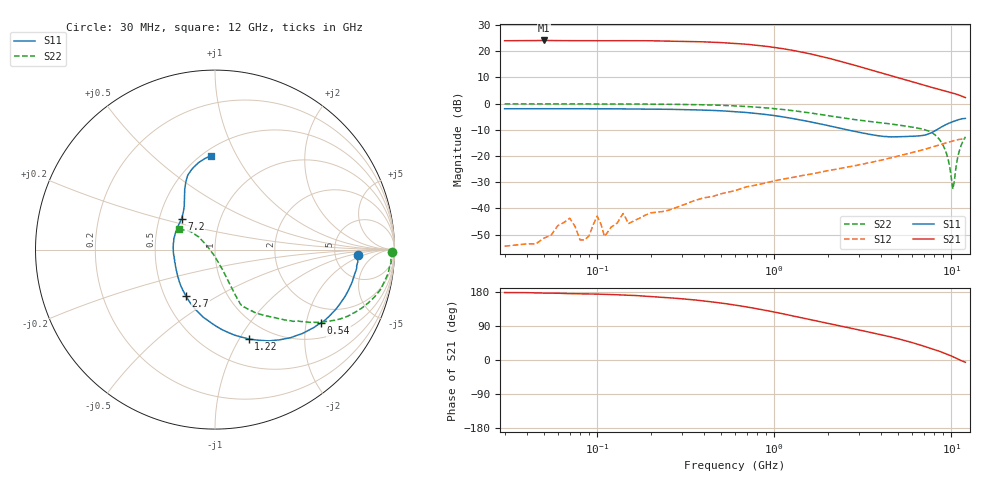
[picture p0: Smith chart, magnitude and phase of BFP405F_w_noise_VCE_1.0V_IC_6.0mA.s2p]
! Infineon Technologies  Discrete & RF Semiconductors
! BFP405F
! VCE =  1.0 V,  IC =  6.0 mA
! Common Emitter S-Parameters:  Nov 2015
# GHz  S  MA  R  50
!  f  S11  S21  S12  S22
! GHz  MAG  ANG  MAG  ANG  MAG  ANG  MAG  ANG
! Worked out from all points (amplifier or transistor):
!   239 points, 30 MHz to 12 GHz, reference 50 ohm
!   highest |S21| = 24.1 dB at 50 MHz (marker M1)
!   |S21| within 3 dB of that: start of sweep to 1.083 GHz
!   unconditionally stable (mu >= 1): 2.623 GHz to end of sweep
!   at 300 MHz: K = 0.13, MSG = 31.4 dB, |S12| = -38.9 dB
!   at 1.88 GHz: K = 0.77, MSG = 21.9 dB, |S12| = -26.0 dB
!   at 12 GHz: K = 1.44, MAG = 3.9 dB, |S12| = -13.3 dB
!   lowest NFmin = 1.38 dB at 450 MHz
!   S11 on the Smith chart (normalised r, x): 30 MHz: 8.61, -1.38; 540 MHz: 1.45, -2.43; 1.22 GHz: 0.79, -1.09; 2.7 GHz: 0.64, -0.37; 7.2 GHz: 0.65, +0.24; 12 GHz: 0.56, +0.79
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0.03  0.7967 -2.1  15.8 178.0  0.0019 52.1  0.9838 -0.8
0.05  0.7923 -3.8  16.01 176.6  0.0027 -5.6  0.9827 -1.8
0.07  0.7994 -4.9  15.89 175.1  0.0065 98.7  0.9851 -2.3
0.085  0.7965 -5.6  15.84 174.5  0.0025 86.6  0.9847 -2.6
0.1  0.7945 -6.7  15.8 173.9  0.0071 89.9  0.981 -3.5
0.11  0.7963 -7.4  15.8 173.2  0.0029 97.1  0.9835 -3.7
0.145  0.7903 -9.8  15.84 171.5  0.0065 83.9  0.9803 -4.8
0.24  0.7794 -16.0  15.61 165.3  0.0088 80.7  0.972 -8.1
0.4  0.7505 -26.4  15.07 155.8  0.0159 80.0  0.9498 -13.4
0.54  0.7168 -34.7  14.35 148.2  0.0201 74.8  0.9179 -17.6
0.6  0.7006 -38.4  14.06 144.9  0.0218 75.4  0.9043 -19.2
0.9  0.6177 -54.5  12.39 130.6  0.0308 67.1  0.828 -26.6
1.22  0.5311 -69.4  10.62 118.3  0.038 63.2  0.7454 -32.4
1.64  0.4404 -86.4  8.693 105.7  0.0456 59.9  0.6538 -38.1
2.18  0.3578 -106.0  6.89 93.1  0.055 56.3  0.5648 -44.3
2.7  0.3057 -121.9  5.656 84.0  0.0629 54.8  0.5067 -48.5
4.5  0.2327 -167.6  3.446 61.4  0.091 50.6  0.4101 -58.0
7.2  0.2541 137.2  2.183 34.7  0.1363 41.5  0.3103 -65.4
9  0.3743 116.8  1.773 19.1  0.1711 33.3  0.1572 -67.7
10.2  0.4522 108.3  1.582 8.8  0.1935 26.7  0.0234 -138.2
11  0.494 100.5  1.462 1.4  0.2061 21.6  0.1138 142.1
12  0.5209 92.2  1.301 -5.8  0.2164 17.2  0.2322 150.8
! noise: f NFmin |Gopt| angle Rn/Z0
0.45  1.38  0.34  6  0.33
0.9  1.39  0.31  11  0.33
1.5  1.45  0.29  18  0.31
1.9  1.48  0.27  24  0.3
2.4  1.63  0.26  33  0.32
3  1.7  0.24  45  0.31
3.5  1.75  0.22  54  0.28
4.5  1.9  0.17  62  0.22
5.5  2.12  0.09  71  0.09
